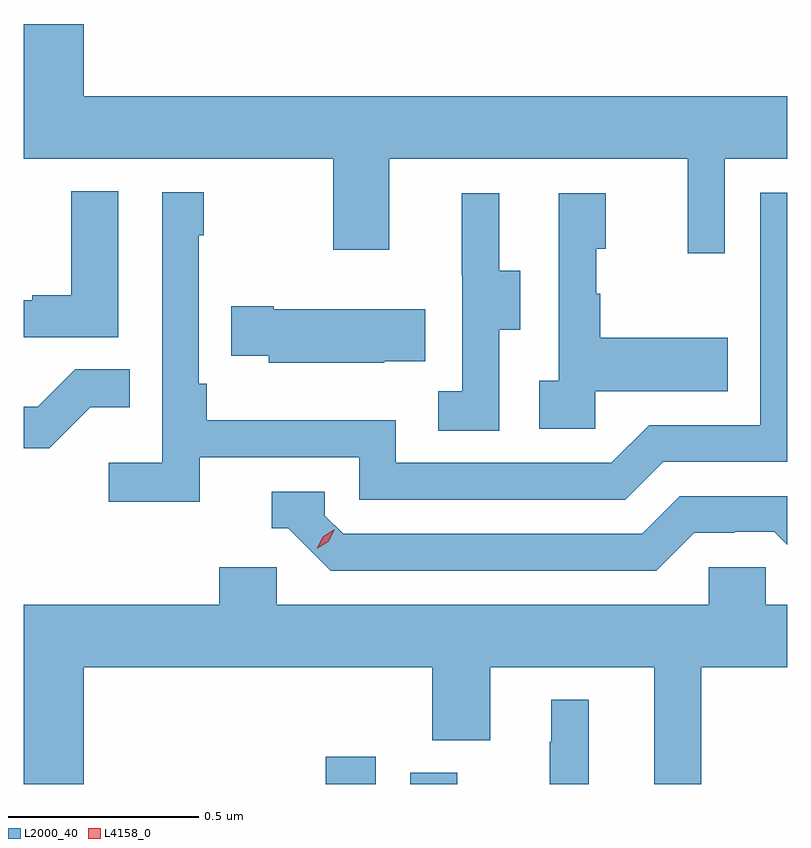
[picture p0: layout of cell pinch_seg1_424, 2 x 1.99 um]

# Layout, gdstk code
import gdstk
lib = gdstk.Library(unit=1e-6, precision=1e-09)
def R(c, l, rs):  # rectangles x0, y0, x1, y1
    for r in rs: c.add(gdstk.rectangle(r[:2], r[2:], *l))
def P(c, l, *ps):  # polygons
    for p in ps: c.add(gdstk.Polygon(p, *l))
L2000_40 = (2000, 40)
L4158_0 = (4158, 0)

pinch_seg1_424 = lib.new_cell('pinch_seg1_424')
R(pinch_seg1_424, L2000_40, [(921.05,530.114,921.181,530.185), (921.272,530.114,921.394,530.143)])
P(pinch_seg1_424, L2000_40, [(922.095,531.752),(922.259,531.752),(922.259,531.916),(920.416,531.916),(920.416,532.105),(920.259,532.105),(920.259,531.752),(921.07,531.752),(921.07,531.513),(921.217,531.513),(921.217,531.752),(921.998,531.752),(921.998,531.504),(922.095,531.504)],
  [(920.506,531.667),(920.384,531.667),(920.384,531.394),(920.281,531.394),(920.281,531.381),(920.259,531.381),(920.259,531.285),(920.506,531.285)],
  [(920.72,530.97),(921.138,530.97),(921.138,530.859),(921.835,530.859),(921.934,530.958),(922.259,530.958),(922.259,531.663),(922.188,531.663),(922.188,531.054),(921.897,531.054),(921.798,530.955),(921.234,530.955),(921.234,531.067),(920.738,531.067),(920.738,531.163),(920.718,531.163),(920.718,531.551),(920.731,531.551),(920.731,531.664),(920.622,531.664),(920.622,530.956),(920.481,530.956),(920.481,530.854),(920.72,530.854)],
  [(921.504,531.304),(921.559,531.304),(921.559,531.459),(921.505,531.459),(921.505,531.661),(921.407,531.661),(921.407,531.447),(921.408,531.447),(921.408,531.143),(921.345,531.143),(921.345,531.04),(921.504,531.04)],
  [(921.756,531.143),(922.103,531.143),(922.103,531.283),(921.769,531.283),(921.769,531.398),(921.759,531.398),(921.759,531.516),(921.784,531.516),(921.784,531.661),(921.66,531.661),(921.66,531.17),(921.609,531.17),(921.609,531.045),(921.756,531.045)],
  [(921.203,531.221),(921.311,531.221),(921.311,531.358),(920.914,531.358),(920.914,531.366),(920.803,531.366),(920.803,531.236),(920.901,531.236),(920.901,531.218),(921.203,531.218)],
  [(920.433,531.101),(920.537,531.101),(920.537,531.2),(920.394,531.2),(920.296,531.102),(920.259,531.102),(920.259,530.994),(920.326,530.994)],
  [(922.015,530.772),(922.122,530.772),(922.122,530.775),(922.225,530.775),(922.259,530.741),(922.259,530.868),(921.978,530.868),(921.879,530.769),(921.096,530.769),(921.048,530.817),(921.048,530.88),(920.909,530.88),(920.909,530.784),(920.952,530.784),(921.063,530.673),(921.916,530.673)],
  [(920.416,530.42),(921.329,530.42),(921.329,530.228),(921.481,530.228),(921.481,530.42),(921.911,530.42),(921.911,530.114),(922.034,530.114),(922.034,530.42),(922.259,530.42),(922.259,530.584),(922.203,530.584),(922.203,530.682),(922.053,530.682),(922.053,530.584),(920.922,530.584),(920.922,530.682),(920.771,530.682),(920.771,530.584),(920.259,530.584),(920.259,530.114),(920.416,530.114)],
  [(921.739,530.335),(921.641,530.335),(921.641,530.225),(921.637,530.225),(921.637,530.114),(921.739,530.114)])
P(pinch_seg1_424, L4158_0, [(921.026,530.73),(921.026,530.73),(921.042,530.762),(921.073,530.782),(921.074,530.782),(921.074,530.782),(921.057,530.749),(921.026,530.73)])

lib.write_gds('pinch_seg1_424.gds')
